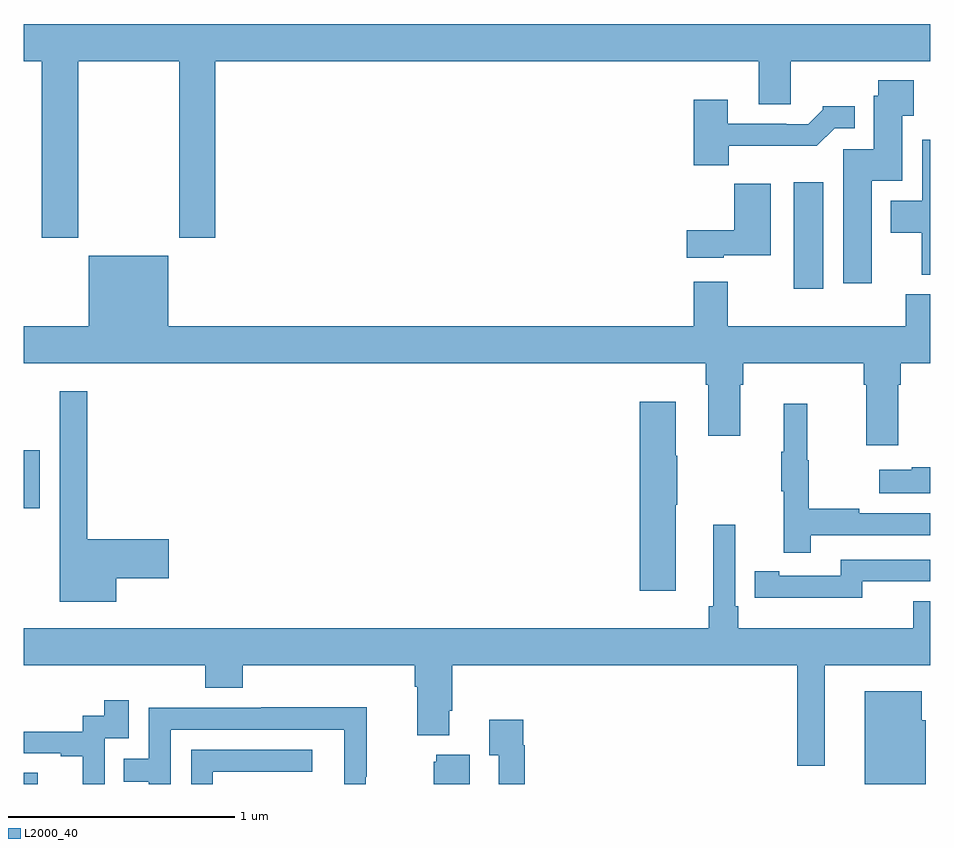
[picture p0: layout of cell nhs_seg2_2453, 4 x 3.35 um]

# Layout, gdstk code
import gdstk
lib = gdstk.Library(unit=1e-6, precision=1e-09)
def R(c, l, rs):  # rectangles x0, y0, x1, y1
    for r in rs: c.add(gdstk.rectangle(r[:2], r[2:], *l))
def P(c, l, *ps):  # polygons
    for p in ps: c.add(gdstk.Polygon(p, *l))
L2000_40 = (2000, 40)

nhs_seg2_2453 = lib.new_cell('nhs_seg2_2453')
R(nhs_seg2_2453, L2000_40, [(239,625.8,239.062,625.849), (239,627.017,239.071,627.271), (242.396,627.984,242.527,628.453)])
P(nhs_seg2_2453, L2000_40, [(239.241,628.988),(239.686,628.988),(239.686,628.209),(239.846,628.209),(239.846,628.988),(242.243,628.988),(242.243,628.798),(242.383,628.798),(242.383,628.988),(243,628.988),(243,629.152),(239,629.152),(239,628.988),(239.081,628.988),(239.081,628.209),(239.241,628.209)],
  [(242.74,628.46),(242.875,628.46),(242.875,628.747),(242.927,628.747),(242.927,628.903),(242.77,628.903),(242.77,628.836),(242.75,628.836),(242.75,628.599),(242.615,628.599),(242.615,628.008),(242.74,628.008)],
  [(242.11,628.614),(242.499,628.614),(242.577,628.692),(242.665,628.692),(242.665,628.789),(242.526,628.789),(242.526,628.774),(242.462,628.71),(242.363,628.71),(242.363,628.713),(242.107,628.713),(242.107,628.819),(241.955,628.819),(241.955,628.529),(242.11,628.529)],
  [(243,628.642),(242.964,628.642),(242.964,628.372),(242.825,628.372),(242.825,628.232),(242.962,628.232),(242.962,628.046),(243,628.046)],
  [(242.088,628.133),(242.296,628.133),(242.296,628.447),(242.134,628.447),(242.134,628.243),(241.926,628.243),(241.926,628.121),(242.088,628.121)],
  [(242.107,628.015),(241.955,628.015),(241.955,627.82),(239.638,627.82),(239.638,628.129),(239.288,628.129),(239.288,627.82),(239,627.82),(239,627.656),(242.009,627.656),(242.009,627.56),(242.021,627.56),(242.021,627.336),(242.161,627.336),(242.161,627.56),(242.174,627.56),(242.174,627.656),(242.705,627.656),(242.705,627.56),(242.717,627.56),(242.717,627.294),(242.857,627.294),(242.857,627.56),(242.87,627.56),(242.87,627.656),(243,627.656),(243,627.961),(242.891,627.961),(242.891,627.82),(242.107,627.82)],
  [(239.41,626.708),(239.641,626.708),(239.641,626.879),(239.281,626.879),(239.281,627.532),(239.159,627.532),(239.159,626.603),(239.41,626.603)],
  [(241.876,627.031),(241.884,627.031),(241.884,627.248),(241.876,627.248),(241.876,627.487),(241.718,627.487),(241.718,626.652),(241.876,626.652)],
  [(242.471,626.898),(243,626.898),(243,626.994),(242.687,626.994),(242.687,627.014),(242.464,627.014),(242.464,627.228),(242.456,627.228),(242.456,627.478),(242.354,627.478),(242.354,627.265),(242.343,627.265),(242.343,627.091),(242.354,627.091),(242.354,626.82),(242.471,626.82)],
  [(243,627.197),(242.918,627.197),(242.918,627.187),(242.775,627.187),(242.775,627.083),(243,627.083)],
  [(242.533,626.324),(243,626.324),(243,626.605),(242.924,626.605),(242.924,626.488),(242.153,626.488),(242.153,626.584),(242.139,626.584),(242.139,626.944),(242.042,626.944),(242.042,626.584),(242.023,626.584),(242.023,626.488),(239,626.488),(239,626.324),(239.801,626.324),(239.801,626.225),(239.966,626.225),(239.966,626.324),(240.725,626.324),(240.725,626.228),(240.737,626.228),(240.737,626.015),(240.877,626.015),(240.877,626.122),(240.89,626.122),(240.89,626.324),(242.412,626.324),(242.412,625.88),(242.533,625.88)],
  [(242.7,626.694),(243,626.694),(243,626.79),(242.604,626.79),(242.604,626.718),(242.332,626.718),(242.332,626.738),(242.224,626.738),(242.224,626.622),(242.332,626.622),(242.332,626.621),(242.7,626.621)],
  [(242.98,626.082),(242.962,626.082),(242.962,626.209),(242.711,626.209),(242.711,625.8),(242.98,625.8)],
  [(239.358,626.001),(239.463,626.001),(239.463,626.17),(239.355,626.17),(239.355,626.1),(239.262,626.1),(239.262,626.031),(239,626.031),(239,625.935),(239.165,625.935),(239.165,625.923),(239.261,625.923),(239.261,625.8),(239.358,625.8)],
  [(239.649,626.04),(240.414,626.04),(240.414,625.8),(240.51,625.8),(240.51,625.831),(240.513,625.831),(240.513,626.138),(240.049,626.138),(240.049,626.136),(239.553,626.136),(239.553,625.911),(239.443,625.911),(239.443,625.81),(239.553,625.81),(239.553,625.8),(239.649,625.8)],
  [(241.211,625.97),(241.204,625.97),(241.204,626.083),(241.055,626.083),(241.055,625.927),(241.095,625.927),(241.095,625.8),(241.211,625.8)],
  [(239.835,625.854),(240.274,625.854),(240.274,625.95),(239.739,625.95),(239.739,625.8),(239.835,625.8)],
  [(240.967,625.93),(240.821,625.93),(240.821,625.899),(240.809,625.899),(240.809,625.8),(240.967,625.8)])

lib.write_gds('nhs_seg2_2453.gds')
